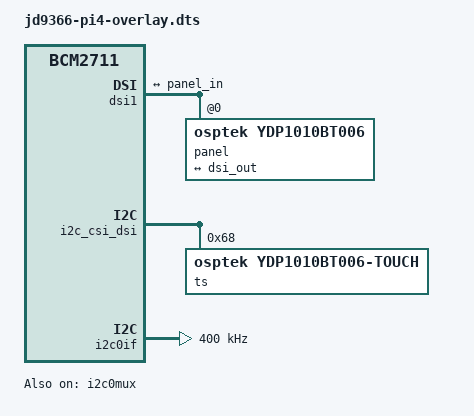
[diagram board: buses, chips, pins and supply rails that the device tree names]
// Overlay cho panel OSPTEK YDP1010BT006-V1 10.1" 800x1280 (JD9366) tren Raspberry Pi 4.
// Adapter OSPTEK J2 (15 pin) -> cong DISPLAY cua Pi 4 (DSI1, 2 lane). Cam ung I2C 0x68 tren
// chan 11/12 cua cong DSI = i2c_csi_dsi (I2C0 qua mux, GPIO44/45, /dev/i2c-10).
//
// config.txt:
//   dtoverlay=vc4-kms-v3d
//   dtoverlay=jd9366-pi4
//   # Tham so tuy chon (viet tren cung dong, cach nhau dau phay):
//   #   rotation=90|180|270   xoay hinh (bao cho DRM/desktop qua "panel orientation")
//   #   swapxy,invx,invy      dao truc cam ung neu toa do lech huong
//   #   te                    da noi chan TE (J3 chan 4) vao GPIO17: doc cam ung dung luc trong doc
//   #   i2c_hz=<n>            toc do I2C cam ung, mac dinh 400000 (giong ban ESP32)

/dts-v1/;
/plugin/;

/ {
	compatible = "brcm,bcm2711";

	fragment@0 {
		target = <&dsi1>;
		__overlay__ {
			#address-cells = <1>;
			#size-cells = <0>;
			status = "okay";

			port {
				dsi_out: endpoint {
					remote-endpoint = <&panel_in>;
				};
			};

			panel: panel@0 {
				compatible = "osptek,ydp1010bt006";
				reg = <0>;
				rotation = <0>;

				port {
					panel_in: endpoint {
						remote-endpoint = <&dsi_out>;
					};
				};
			};
		};
	};

	fragment@1 {
		target = <&i2c_csi_dsi>;
		__overlay__ {
			#address-cells = <1>;
			#size-cells = <0>;
			status = "okay";

			ts: touchscreen@68 {
				compatible = "osptek,ydp1010bt006-touch";
				reg = <0x68>;
			};
		};
	};

	/* I2C0 va bo mux GPIO0/1 <-> GPIO44/45 phai bat thi i2c_csi_dsi moi chay */
	fragment@2 {
		target = <&i2c0if>;
		__overlay__ {
			status = "okay";
			clock-frequency = <400000>;
		};
	};

	fragment@3 {
		target = <&i2c0mux>;
		__overlay__ {
			status = "okay";
		};
	};

	/* Thay fragment@1 khi co tham so te: TE noi vao GPIO17 (kich hoat muc cao) */
	fragment@4 {
		target = <&i2c_csi_dsi>;
		__dormant__ {
			#address-cells = <1>;
			#size-cells = <0>;
			status = "okay";

			ts_te: touchscreen@68 {
				compatible = "osptek,ydp1010bt006-touch";
				reg = <0x68>;
				te-gpios = <&gpio 17 0>;
			};
		};
	};

	__overrides__ {
		rotation = <&panel>, "rotation:0";
		swapxy = <&ts>, "touchscreen-swapped-x-y?", <&ts_te>, "touchscreen-swapped-x-y?";
		invx = <&ts>, "touchscreen-inverted-x?", <&ts_te>, "touchscreen-inverted-x?";
		invy = <&ts>, "touchscreen-inverted-y?", <&ts_te>, "touchscreen-inverted-y?";
		te = <0>, "-1+4";
		i2c_hz = <&i2c0if>, "clock-frequency:0";
	};
};
